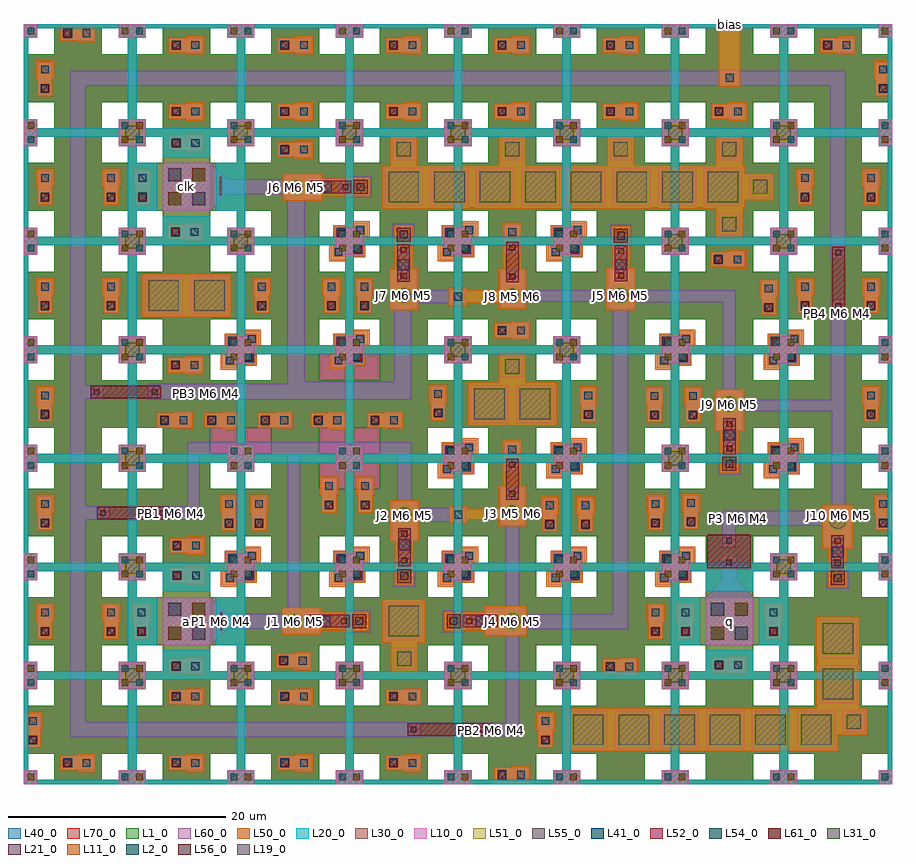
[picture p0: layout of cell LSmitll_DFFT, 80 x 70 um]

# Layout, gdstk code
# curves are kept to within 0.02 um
from math import pi, radians
import gdstk
lib = gdstk.Library(unit=1e-6, precision=1e-09)
def R(c, l, rs):  # rectangles x0, y0, x1, y1
    for r in rs: c.add(gdstk.rectangle(r[:2], r[2:], *l))
def A(c, l, x, y, w, h, nx, ny, dx, dy):  # array of equal rectangles
    R(c, l, [(x+i*dx, y+j*dy, x+i*dx+w, y+j*dy+h) for i in range(nx) for j in range(ny)])
def P(c, l, *ps):  # polygons
    for p in ps: c.add(gdstk.Polygon(p, *l))
L1_0 = (1, 0)
L2_0 = (2, 0)
L10_0 = (10, 0)
L11_0 = (11, 0)
L19_0 = (19, 0)
L20_0 = (20, 0)
L21_0 = (21, 0)
L30_0 = (30, 0)
L31_0 = (31, 0)
L40_0 = (40, 0)
L41_0 = (41, 0)
L50_0 = (50, 0)
L51_0 = (51, 0)
L52_0 = (52, 0)
L54_0 = (54, 0)
L55_0 = (55, 0)
L56_0 = (56, 0)
L60_0 = (60, 0)
L61_0 = (61, 0)
L70_0 = (70, 0)

ls_fakejj_1p5x1p5um = lib.new_cell('ls_FakeJJ_1p5x1p5um')
R(ls_fakejj_1p5x1p5um, L40_0, [(-1.25,-1.25,1.25,1.25)])
R(ls_fakejj_1p5x1p5um, L50_0, [(-1.25,-1.25,1.25,1.25)])
R(ls_fakejj_1p5x1p5um, L51_0, [(-0.75,-0.75,0.75,0.75)])
R(ls_fakejj_1p5x1p5um, L55_0, [(-0.65,-0.65,0.65,0.65)])
R(ls_fakejj_1p5x1p5um, L60_0, [(-1,-1,1,1)])

ls_fakejj_3umx3um = lib.new_cell('ls_FakeJJ_3umx3um')
R(ls_fakejj_3umx3um, L40_0, [(-2,-2,2,2)])
R(ls_fakejj_3umx3um, L50_0, [(-2,-2,2,2)])
R(ls_fakejj_3umx3um, L51_0, [(-1.5,-1.5,1.5,1.5)])
R(ls_fakejj_3umx3um, L55_0, [(-1.4,-1.4,1.4,1.4)])
R(ls_fakejj_3umx3um, L60_0, [(-1.75,-1.75,1.75,1.75)])

ls_conn_m4m5m6m7 = lib.new_cell('ls_conn_M4M5M6M7')
R(ls_conn_m4m5m6m7, L40_0, [(0,0,1.4,1.4)])
R(ls_conn_m4m5m6m7, L41_0, [(0.3,0.3,1.1,1.1)])
P(ls_conn_m4m5m6m7, L50_0, [(3.3,1.55),(1.6,1.55),(1.6,1.4),(0,1.4),(0,0),(1.6,0),(1.6,-0.15),(3.3,-0.15)])
R(ls_conn_m4m5m6m7, L54_0, [(2.1,0.35,2.8,1.05)])
R(ls_conn_m4m5m6m7, L60_0, [(0,0,3.15,1.4)])
R(ls_conn_m4m5m6m7, L61_0, [(0.35,0.35,1.05,1.05)])
R(ls_conn_m4m5m6m7, L70_0, [(0,0,1.4,1.4)])

ls_conn_m5m6m7 = lib.new_cell('ls_conn_M5M6M7')
R(ls_conn_m5m6m7, L50_0, [(-0.5,-0.5,1.2,1.2)])
R(ls_conn_m5m6m7, L54_0, [(0,0,0.7,0.7)])
R(ls_conn_m5m6m7, L60_0, [(-0.65,-0.65,1.35,1.35)])
R(ls_conn_m5m6m7, L61_0, [(-0.3,-0.3,1,1)])
R(ls_conn_m5m6m7, L70_0, [(-0.65,-0.65,1.35,1.35)])

ls_res_1p36 = lib.new_cell('ls_res_1p36')
R(ls_res_1p36, L52_0, [(-2,0,2,3.1)])
R(ls_res_1p36, L56_0, [(-0.26,0.29,0.26,0.81), (-0.26,2.3,0.26,2.82)])
R(ls_res_1p36, L60_0, [(-0.625,-0.1,0.625,1.175), (-0.625,1.925,0.625,3.2)])

ls_conn_m4m5m6m7_block = lib.new_cell('ls_conn_M4M5M6M7_block')
R(ls_conn_m4m5m6m7_block, L40_0, [(-1.475,-1.475,1.475,1.475)])
R(ls_conn_m4m5m6m7_block, L41_0, [(0.375,-1.175,1.175,-0.375), (-1.175,0.375,-0.375,1.175)])
P(ls_conn_m4m5m6m7_block, L50_0, [(1.85,1.85),(0.15,1.85),(0.15,1.475),(-1.475,1.475),(-1.475,-0.15),(-1.85,-0.15),(-1.85,-1.85),(-0.15,-1.85),(-0.15,-1.475),(1.475,-1.475),(1.475,0.15),(1.85,0.15)])
R(ls_conn_m4m5m6m7_block, L54_0, [(-1.35,-1.35,-0.65,-0.65), (0.65,0.65,1.35,1.35)])
P(ls_conn_m4m5m6m7_block, L60_0, [(1.7,1.7),(0.3,1.7),(0.3,1.45),(-1.45,1.45),(-1.45,-0.3),(-1.7,-0.3),(-1.7,-1.7),(-0.3,-1.7),(-0.3,-1.45),(1.45,-1.45),(1.45,0.3),(1.7,0.3)])
R(ls_conn_m4m5m6m7_block, L61_0, [(0.35,-1.05,1.05,-0.35), (-1.05,0.35,-0.35,1.05)])
R(ls_conn_m4m5m6m7_block, L70_0, [(-1.45,-1.45,1.45,1.45)])

ls_tr_u_m4 = lib.new_cell('ls_tr_u_M4')
P(ls_tr_u_m4, L1_0, [(10,10),(7.2,10),(7.2,9.6),(8.75,9.6),(8.75,8.75),(9.6,8.75),(9.6,7.2),(7.2,7.2),(7.2,2.8),(9.6,2.8),(9.6,1.25),(8.75,1.25),(8.75,0.4),(7.2,0.4),(7.2,10),(1.25,10),(1.25,9.6),(2.8,9.6),(2.8,7.2),(0.4,7.2),(0.4,2.8),(2.8,2.8),(2.8,0.4),(1.25,0.4),(1.25,1.25),(0.4,1.25),(0.4,8.75),(1.25,8.75),(1.25,10),(0,10),(0,0),(10,0)])
R(ls_tr_u_m4, L2_0, [(9.05,0.35,9.65,0.95), (0.35,9.05,0.95,9.65)])
R(ls_tr_u_m4, L10_0, [(0,0,1.25,1.25), (8.75,0,10,1.25), (0,8.75,1.25,10), (8.75,8.75,10,10)])
R(ls_tr_u_m4, L11_0, [(0.35,0.35,0.95,0.95), (9.05,9.05,9.65,9.65)])
P(ls_tr_u_m4, L20_0, [(10,10),(1.25,10),(1.25,9.6),(8.75,9.6),(8.75,8.75),(9.6,8.75),(9.6,1.25),(8.75,1.25),(8.75,0.4),(1.25,0.4),(1.25,1.25),(0.4,1.25),(0.4,8.75),(1.25,8.75),(1.25,10),(0,10),(0,0),(10,0)])
R(ls_tr_u_m4, L21_0, [(9.05,0.35,9.65,0.95), (0.35,9.05,0.95,9.65)])
R(ls_tr_u_m4, L30_0, [(0,0,1.25,1.25), (8.75,0,10,1.25), (0,8.75,1.25,10), (8.75,8.75,10,10)])
R(ls_tr_u_m4, L31_0, [(0.35,0.35,0.95,0.95), (9.05,9.05,9.65,9.65)])
P(ls_tr_u_m4, L40_0, [(10,10),(7.2,10),(7.2,9.6),(8.75,9.6),(8.75,8.75),(9.6,8.75),(9.6,7.2),(7.2,7.2),(7.2,2.8),(9.6,2.8),(9.6,1.25),(8.75,1.25),(8.75,0.4),(7.2,0.4),(7.2,10),(1.25,10),(1.25,9.6),(2.8,9.6),(2.8,7.2),(0.4,7.2),(0.4,2.8),(2.8,2.8),(2.8,0.4),(1.25,0.4),(1.25,1.25),(0.4,1.25),(0.4,8.75),(1.25,8.75),(1.25,10),(0,10),(0,0),(10,0)])

ls_conn_m5m6 = lib.new_cell('ls_conn_M5M6')
R(ls_conn_m5m6, L50_0, [(0,0,1.7,1.7)])
R(ls_conn_m5m6, L54_0, [(0.5,0.5,1.2,1.2)])
R(ls_conn_m5m6, L60_0, [(0.15,0.15,1.55,1.55)])

ls_ib_235 = lib.new_cell('ls_ib_235')
R(ls_ib_235, L52_0, [(-0.575,0,0.575,7.475)])
R(ls_ib_235, L56_0, [(-0.26,0.29,0.26,0.81), (-0.26,6.68,0.26,7.2)])
R(ls_ib_235, L60_0, [(-0.625,-0.1,0.625,1.175), (-0.625,6.3,0.625,7.575)])

ls_ib_276 = lib.new_cell('ls_ib_276')
R(ls_ib_276, L52_0, [(-0.575,0,0.575,6.6)])
R(ls_ib_276, L56_0, [(-0.26,0.29,0.26,0.81), (-0.26,5.8,0.26,6.32)])
R(ls_ib_276, L60_0, [(-0.625,-0.1,0.625,1.175), (-0.625,5.425,0.625,6.7)])

ls_ib_284 = lib.new_cell('ls_ib_284')
R(ls_ib_284, L52_0, [(-0.575,0,0.575,6.45)])
R(ls_ib_284, L56_0, [(-0.26,0.29,0.26,0.81), (-0.26,5.66,0.26,6.18)])
R(ls_ib_284, L60_0, [(-0.625,-0.1,0.625,1.175), (-0.625,5.3,0.625,6.55)])

ls_ib_312 = lib.new_cell('ls_ib_312')
R(ls_ib_312, L52_0, [(-0.575,0,0.575,6.025)])
R(ls_ib_312, L56_0, [(-0.26,0.29,0.26,0.81), (-0.26,5.22,0.26,5.74)])
R(ls_ib_312, L60_0, [(-0.625,-0.1,0.625,1.175), (-0.625,4.85,0.625,6.125)])

ls_jj_162_sg = lib.new_cell('ls_jj_162_sg')
R(ls_jj_162_sg, L41_0, [(-0.5,2.25,0.5,3.25)])
R(ls_jj_162_sg, L50_0, [(-1.275,-1.275,1.275,2.425), (-0.875,2.425,0.875,6.775)])
P(ls_jj_162_sg, L51_0, [(0,-0.74),(0.285,-0.685),(0.52,-0.525),(0.685,-0.285),(0.74,0),(0.685,0.28),(0.52,0.52),(0.285,0.68),(0,0.735),(-0.285,0.68),(-0.52,0.52),(-0.685,0.28),(-0.74,0),(-0.685,-0.285),(-0.52,-0.525),(-0.285,-0.685)])
R(ls_jj_162_sg, L52_0, [(-0.575,1.175,0.575,5.025)])
R(ls_jj_162_sg, L54_0, [(-0.35,5.55,0.35,6.25)])
P(ls_jj_162_sg, L55_0, [(0,-0.59),(0.23,-0.55),(0.42,-0.42),(0.54,-0.23),(0.59,0),(0.54,0.22),(0.42,0.43),(0.13,0.58),(0,0.59),(-0.13,0.58),(-0.42,0.43),(-0.54,0.22),(-0.59,0),(-0.54,-0.23),(-0.42,-0.42),(-0.23,-0.55)])
R(ls_jj_162_sg, L56_0, [(-0.26,1.44,0.26,1.96), (-0.26,4.23,0.26,4.75)])
R(ls_jj_162_sg, L60_0, [(-1.125,-1.125,1.125,2.325), (-0.725,3.85,0.725,6.625)])
ls_jj_162_sg.add(gdstk.Reference(ls_conn_m5m6m7, (-0.35,5.55)))

ls_jj_171_s = lib.new_cell('ls_jj_171_s')
R(ls_jj_171_s, L50_0, [(-1.275,-1.275,1.275,2.475), (-0.875,2.475,0.875,6.7)])
P(ls_jj_171_s, L51_0, [(0,-0.76),(0.29,-0.7),(0.535,-0.54),(0.7,-0.29),(0.76,0),(0.7,0.29),(0.535,0.535),(0.29,0.7),(0,0.755),(-0.29,0.7),(-0.535,0.535),(-0.7,0.29),(-0.76,0),(-0.7,-0.29),(-0.535,-0.54),(-0.29,-0.7)])
R(ls_jj_171_s, L52_0, [(-0.575,1.2,0.575,4.95)])
R(ls_jj_171_s, L54_0, [(-0.35,5.475,0.35,6.175)])
P(ls_jj_171_s, L55_0, [(0,-0.61),(0.12,-0.6),(0.34,-0.51),(0.51,-0.34),(0.6,-0.12),(0.6,0.12),(0.51,0.34),(0.34,0.5),(0.12,0.61),(-0.12,0.61),(-0.34,0.5),(-0.51,0.34),(-0.6,0.12),(-0.6,-0.12),(-0.51,-0.34),(-0.34,-0.51),(-0.12,-0.6)])
R(ls_jj_171_s, L56_0, [(-0.26,1.48,0.26,2), (-0.26,4.16,0.26,4.68)])
R(ls_jj_171_s, L60_0, [(-1.125,-1.125,1.125,2.375), (-0.725,3.775,0.725,6.55)])

ls_jj_189_sg = lib.new_cell('ls_jj_189_sg')
R(ls_jj_189_sg, L41_0, [(-0.5,2.3,0.5,3.3)])
R(ls_jj_189_sg, L50_0, [(-1.325,-1.325,1.325,2.525), (-0.875,2.525,0.875,6.525)])
P(ls_jj_189_sg, L51_0, [(0,-0.795),(0.305,-0.735),(0.565,-0.56),(0.735,-0.305),(0.795,0),(0.735,0.305),(0.565,0.565),(0.305,0.735),(0,0.795),(-0.305,0.735),(-0.565,0.565),(-0.735,0.305),(-0.795,0),(-0.735,-0.305),(-0.565,-0.56),(-0.305,-0.735)])
R(ls_jj_189_sg, L52_0, [(-0.575,1.25,0.575,4.775)])
P(ls_jj_189_sg, L55_0, [(0,-0.65),(0.25,-0.6),(0.46,-0.46),(0.6,-0.25),(0.65,0),(0.6,0.24),(0.46,0.45),(0.25,0.59),(0,0.64),(-0.25,0.59),(-0.46,0.45),(-0.6,0.24),(-0.65,0),(-0.6,-0.25),(-0.46,-0.46),(-0.25,-0.6)])
R(ls_jj_189_sg, L56_0, [(-0.26,1.52,0.26,2.04), (-0.26,3.99,0.26,4.51)])
R(ls_jj_189_sg, L60_0, [(-1.175,-1.175,1.175,2.425), (-0.725,3.625,0.725,6.375)])
ls_jj_189_sg.add(gdstk.Reference(ls_conn_m5m6m7, (-0.35,5.325)))

ls_jj_198_sg = lib.new_cell('ls_jj_198_sg')
R(ls_jj_198_sg, L41_0, [(-0.5,2.325,0.5,3.325)])
R(ls_jj_198_sg, L50_0, [(-1.35,-1.35,1.35,2.525), (-0.875,2.525,0.875,6.475)])
P(ls_jj_198_sg, L51_0, [(0,-0.815),(0.31,-0.755),(0.575,-0.575),(0.75,-0.315),(0.815,0),(0.75,0.31),(0.575,0.575),(0.31,0.75),(0,0.81),(-0.31,0.75),(-0.575,0.575),(-0.75,0.31),(-0.815,0),(-0.75,-0.315),(-0.575,-0.575),(-0.31,-0.755)])
R(ls_jj_198_sg, L52_0, [(-0.575,1.275,0.575,4.725)])
R(ls_jj_198_sg, L54_0, [(-0.35,5.25,0.35,5.95)])
P(ls_jj_198_sg, L55_0, [(0,-0.66),(0.25,-0.61),(0.47,-0.47),(0.61,-0.25),(0.66,0),(0.61,0.26),(0.47,0.47),(0.37,0.57),(0,0.67),(-0.37,0.57),(-0.47,0.47),(-0.61,0.26),(-0.66,0),(-0.61,-0.25),(-0.47,-0.47),(-0.25,-0.61)])
R(ls_jj_198_sg, L56_0, [(-0.26,1.54,0.26,2.06), (-0.26,3.92,0.26,4.44)])
R(ls_jj_198_sg, L60_0, [(-1.2,-1.2,1.2,2.425), (-0.725,3.55,0.725,6.325)])
ls_jj_198_sg.add(gdstk.Reference(ls_conn_m5m6m7, (-0.35,5.25)))

ls_jj_212_sg = lib.new_cell('ls_jj_212_sg')
R(ls_jj_212_sg, L41_0, [(-0.5,2.35,0.5,3.35)])
R(ls_jj_212_sg, L50_0, [(-1.375,-1.375,1.375,2.55), (-0.875,2.55,0.875,6.375)])
P(ls_jj_212_sg, L51_0, [(0,-0.84),(0.32,-0.775),(0.595,-0.595),(0.775,-0.32),(0.84,0),(0.775,0.325),(0.595,0.595),(0.32,0.78),(0,0.84),(-0.32,0.78),(-0.595,0.595),(-0.775,0.325),(-0.84,0),(-0.775,-0.32),(-0.595,-0.595),(-0.32,-0.775)])
R(ls_jj_212_sg, L52_0, [(-0.575,1.3,0.575,4.625)])
R(ls_jj_212_sg, L54_0, [(-0.35,5.15,0.35,5.85)])
P(ls_jj_212_sg, L55_0, [(0,-0.69),(0.26,-0.64),(0.49,-0.49),(0.64,-0.26),(0.69,0),(0.64,0.27),(0.49,0.49),(0.38,0.59),(0.26,0.64),(0,0.69),(-0.26,0.64),(-0.38,0.59),(-0.49,0.49),(-0.64,0.27),(-0.69,0),(-0.64,-0.26),(-0.49,-0.49),(-0.26,-0.64)])
R(ls_jj_212_sg, L56_0, [(-0.26,1.57,0.26,2.09), (-0.26,3.83,0.26,4.35)])
R(ls_jj_212_sg, L60_0, [(-1.225,-1.225,1.225,2.45), (-0.725,3.45,0.725,6.225)])
ls_jj_212_sg.add(gdstk.Reference(ls_conn_m5m6m7, (-0.35,5.15)))

ls_jj_232_sg = lib.new_cell('ls_jj_232_sg')
R(ls_jj_232_sg, L41_0, [(-0.5,2.375,0.5,3.375)])
R(ls_jj_232_sg, L50_0, [(-1.4,-1.4,1.4,2.6), (-0.875,2.6,0.875,6.25)])
P(ls_jj_232_sg, L51_0, [(0,-0.88),(0.335,-0.815),(0.62,-0.625),(0.81,-0.34),(0.88,0),(0.81,0.335),(0.62,0.62),(0.335,0.81),(0,0.875),(-0.335,0.81),(-0.62,0.62),(-0.81,0.335),(-0.88,0),(-0.81,-0.34),(-0.62,-0.625),(-0.335,-0.815)])
R(ls_jj_232_sg, L52_0, [(-0.575,1.325,0.575,4.5)])
P(ls_jj_232_sg, L55_0, [(0,-0.73),(0.28,-0.69),(0.53,-0.52),(0.67,-0.28),(0.73,0),(0.67,0.28),(0.53,0.51),(0.28,0.67),(0,0.73),(-0.28,0.67),(-0.53,0.51),(-0.67,0.28),(-0.73,0),(-0.67,-0.28),(-0.53,-0.52),(-0.28,-0.69)])
R(ls_jj_232_sg, L56_0, [(-0.26,1.6,0.26,2.12), (-0.26,3.71,0.26,4.23)])
R(ls_jj_232_sg, L60_0, [(-1.25,-1.25,1.25,2.5), (-0.725,3.35,0.725,6.1)])
ls_jj_232_sg.add(gdstk.Reference(ls_conn_m5m6m7, (-0.35,5.05)))

ls_jj_250_sg = lib.new_cell('ls_jj_250_sg')
R(ls_jj_250_sg, L41_0, [(-0.5,2.4,0.5,3.4)])
R(ls_jj_250_sg, L50_0, [(-1.425,-1.425,1.425,2.625), (-0.875,2.625,0.875,6.175)])
P(ls_jj_250_sg, L51_0, [(0,-0.91),(0.18,-0.895),(0.35,-0.84),(0.645,-0.645),(0.84,-0.35),(0.91,0),(0.895,0.18),(0.84,0.35),(0.645,0.645),(0.35,0.84),(0.18,0.895),(0,0.91),(-0.18,0.895),(-0.35,0.84),(-0.645,0.645),(-0.84,0.35),(-0.895,0.18),(-0.91,0),(-0.84,-0.35),(-0.645,-0.645),(-0.35,-0.84),(-0.18,-0.895)])
R(ls_jj_250_sg, L52_0, [(-0.575,1.35,0.575,4.425)])
R(ls_jj_250_sg, L54_0, [(-0.35,4.95,0.35,5.65)])
P(ls_jj_250_sg, L55_0, [(0,-0.76),(0.15,-0.75),(0.29,-0.7),(0.54,-0.54),(0.7,-0.29),(0.75,-0.15),(0.76,0),(0.75,0.15),(0.7,0.29),(0.54,0.54),(0.29,0.7),(0.15,0.75),(0,0.76),(-0.15,0.75),(-0.29,0.7),(-0.54,0.54),(-0.7,0.29),(-0.75,0.15),(-0.76,0),(-0.75,-0.15),(-0.7,-0.29),(-0.54,-0.54),(-0.29,-0.7),(-0.15,-0.75)])
R(ls_jj_250_sg, L56_0, [(-0.26,1.64,0.26,2.16), (-0.26,3.63,0.26,4.15)])
R(ls_jj_250_sg, L60_0, [(-1.275,-1.275,1.275,2.525), (-0.725,3.25,0.725,6.025)])
ls_jj_250_sg.add(gdstk.Reference(ls_conn_m5m6m7, (-0.35,4.95)))

ls_tr_ptlconnection = lib.new_cell('ls_tr_PTLconnection')
P(ls_tr_ptlconnection, L1_0, [(10,10),(7.2,10),(7.2,9.6),(8.75,9.6),(8.75,8.75),(9.6,8.75),(9.6,7.2),(7.2,7.2),(7.2,2.8),(9.6,2.8),(9.6,1.25),(8.75,1.25),(8.75,0.4),(7.2,0.4),(7.2,10),(1.25,10),(1.25,9.6),(2.8,9.6),(2.8,7.2),(0.4,7.2),(0.4,2.8),(2.8,2.8),(2.8,0.4),(1.25,0.4),(1.25,1.25),(0.4,1.25),(0.4,8.75),(1.25,8.75),(1.25,10),(0,10),(0,0),(10,0)])
R(ls_tr_ptlconnection, L2_0, [(9.05,0.35,9.65,0.95), (0.35,9.05,0.95,9.65)])
R(ls_tr_ptlconnection, L10_0, [(0,0,1.25,1.25), (8.75,0,10,1.25), (2.8,2.8,7.2,7.2), (0,8.75,1.25,10), (8.75,8.75,10,10)])
R(ls_tr_ptlconnection, L11_0, [(0.35,0.35,0.95,0.95), (3.3,3.3,4.5,4.5), (5.5,5.5,6.7,6.7), (9.05,9.05,9.65,9.65)])
R(ls_tr_ptlconnection, L20_0, [(2.8,2.8,7.2,7.2)])
P(ls_tr_ptlconnection, L20_0, [(10,10),(7.2,10),(7.2,9.6),(8.75,9.6),(8.75,8.75),(9.6,8.75),(9.6,7.2),(7.7,7.2),(7.7,2.8),(9.6,2.8),(9.6,1.25),(8.75,1.25),(8.75,0.4),(7.2,0.4),(7.2,2.3),(2.8,2.3),(2.8,0.4),(1.25,0.4),(1.25,1.25),(0.4,1.25),(0.4,2.8),(2.3,2.8),(2.3,7.2),(0.4,7.2),(0.4,8.75),(1.25,8.75),(1.25,9.6),(2.8,9.6),(2.8,7.7),(7.2,7.7),(7.2,10),(0,10),(0,0),(10,0)])
R(ls_tr_ptlconnection, L21_0, [(9.05,0.35,9.65,0.95), (5.5,3.3,6.7,4.5), (3.3,5.5,4.5,6.7), (0.35,9.05,0.95,9.65)])
R(ls_tr_ptlconnection, L30_0, [(0,0,1.25,1.25), (8.75,0,10,1.25), (2.8,2.8,7.2,7.2), (0,8.75,1.25,10), (8.75,8.75,10,10)])
R(ls_tr_ptlconnection, L31_0, [(0.35,0.35,0.95,0.95), (3.3,3.3,4.5,4.5), (5.5,5.5,6.7,6.7), (9.05,9.05,9.65,9.65)])
R(ls_tr_ptlconnection, L40_0, [(2.8,2.8,7.2,7.2)])
P(ls_tr_ptlconnection, L40_0, [(10,10),(7.2,10),(7.2,9.6),(8.75,9.6),(8.75,8.75),(9.6,8.75),(9.6,7.2),(7.7,7.2),(7.7,2.8),(9.6,2.8),(9.6,1.25),(8.75,1.25),(8.75,0.4),(7.2,0.4),(7.2,2.3),(2.8,2.3),(2.8,0.4),(1.25,0.4),(1.25,1.25),(0.4,1.25),(0.4,2.8),(2.3,2.8),(2.3,7.2),(0.4,7.2),(0.4,8.75),(1.25,8.75),(1.25,9.6),(2.8,9.6),(2.8,7.7),(7.2,7.7),(7.2,10),(0,10),(0,0),(10,0)])
R(ls_tr_ptlconnection, L41_0, [(5.5,3.3,6.7,4.5), (3.3,5.5,4.5,6.7)])
R(ls_tr_ptlconnection, L50_0, [(2.8,2.8,7.2,7.2)])
R(ls_tr_ptlconnection, L54_0, [(3.3,3.3,4.5,4.5), (5.5,5.5,6.7,6.7)])
R(ls_tr_ptlconnection, L60_0, [(2.8,2.8,7.2,7.2)])
P(ls_tr_ptlconnection, L70_0, [(10,10),(7.2,10),(7.2,9.6),(8.75,9.6),(8.75,8.75),(9.6,8.75),(9.6,7.2),(7.2,7.2),(7.2,2.8),(9.6,2.8),(9.6,1.25),(8.75,1.25),(8.75,0.4),(7.2,0.4),(7.2,10),(1.25,10),(1.25,9.6),(2.8,9.6),(2.8,7.2),(0.4,7.2),(0.4,2.8),(2.8,2.8),(2.8,0.4),(1.25,0.4),(1.25,1.25),(0.4,1.25),(0.4,8.75),(1.25,8.75),(1.25,10),(0,10),(0,0),(10,0)])

ls_tr_m7 = lib.new_cell('ls_tr_M7')
P(ls_tr_m7, L70_0, [(10,10),(7.2,10),(7.2,9.6),(8.75,9.6),(8.75,8.75),(9.6,8.75),(9.6,7.2),(7.2,7.2),(7.2,2.8),(9.6,2.8),(9.6,1.25),(8.75,1.25),(8.75,0.4),(7.2,0.4),(7.2,10),(1.25,10),(1.25,9.6),(2.8,9.6),(2.8,7.2),(0.4,7.2),(0.4,2.8),(2.8,2.8),(2.8,0.4),(1.25,0.4),(1.25,1.25),(0.4,1.25),(0.4,8.75),(1.25,8.75),(1.25,10),(0,10),(0,0),(10,0)])

lsmitll_dfft = lib.new_cell('LSmitll_DFFT')
R(lsmitll_dfft, L40_0, [(26.85,26.75,33.55,29.9), (16.775,30.325,33.2,33.2), (26.8,37,33.425,39.725)])
A(lsmitll_dfft, L50_0, 54, 3, 0.2, 4, 5, 1, 4.2, 0)
A(lsmitll_dfft, L50_0, 37, 53, 0.2, 4, 7, 1, 4.2, 0)
A(lsmitll_dfft, L50_0, 33.75, 57, 2.5, 0.2, 4, 1, 10, 0)
R(lsmitll_dfft, L50_0, [(43.35,0,44.95,0.15), (0,3.35,0.15,4.95), (75,4.5,75.2,7), (73,7,77,7.2), (73,11.2,77,11.4), (33.8,12.8,36.3,13), (79.85,23.35,80,24.95), (40.825,24.325,43.875,25.375), (44.9,33,45.1,37), (43.75,37,46.25,37.2), (14.9,43,15.1,47), (40.85,44.325,43.875,45.475), (63.75,52.8,66.25,53), (66.4,53.75,66.6,56.25), (79.85,63.35,80,64.95), (64,64.2,66,70), (3.35,69.85,4.95,70)])
R(lsmitll_dfft, L60_0, [(43.35,0,46.5,0.15), (0,3.35,0.15,6.5), (46.175,14.275,54.55,15.625), (54.275,14.275,55.7,44.025), (24.3,15.7,25.475,31.5), (44.4,16.05,45.625,24), (64.3,18.7,65.7,21.025), (64.35,23,65.6,23.775), (79.85,23.35,80,26.5), (64.35,23.775,73.7,25.175), (36.075,24.175,39.4,25.425), (5.675,24.325,6.65,25.575), (13.45,24.325,16.2,25.575), (15.075,24.325,16.2,31.5), (74.425,25.35,75.65,35.375), (34.425,25.8,35.725,31.5), (15.075,30.275,24.25,31.5), (24.25,30.275,35.075,31.5), (66.075,34.35,74.475,35.375), (74.325,35.325,75.65,44.65), (11.45,35.375,24.475,36.875), (24.475,35.375,35.375,37.05), (34.15,35.375,35.675,43.85), (5.675,35.475,6.075,36.725), (64.4,36.125,65.6,44.5), (24.25,36.65,25.875,53.975), (36.2,44.3,40.7,45.475), (56.15,44.35,65.6,45.5), (46.025,44.4,53.875,45.5), (79.85,63.35,80,66.5), (3.35,69.85,6.5,70)])
P(lsmitll_dfft, L60_0, [(17.2,57.2),(17.2,52.8),(18.7,54.3),(24.875,54.3),(24.875,55.7),(18.7,55.7)],
  [(17.2,17.2),(17.2,12.8),(18.7,14.3),(23.925,14.3),(23.925,15.7),(18.7,15.7)],
  [(42.925,5.65),(42.925,4.4),(45.65,4.4),(45.65,14.175),(44.4,14.175),(44.4,5.65)],
  [(62.8,17.2),(67.2,17.2),(65.7,18.7),(64.3,18.7)])
R(lsmitll_dfft, L70_0, [(26.9,26.725,33.85,30.175), (16.75,30.25,33.2,33.25), (26.75,37,33.625,39.675)])
lsmitll_dfft.add(gdstk.FlexPath([(75,65.7),(75,48.325)], 1.4, ends="flush", simple_path=True, layer=60, datatype=0))  # L60_0
lsmitll_dfft.add(gdstk.FlexPath([(4.3,65),(75,65)], 1.4, ends="flush", simple_path=True, layer=60, datatype=0))  # L60_0
lsmitll_dfft.add(gdstk.FlexPath([(5,4.3),(5,65.7)], 1.4, ends="flush", simple_path=True, layer=60, datatype=0))  # L60_0
lsmitll_dfft.add(gdstk.FlexPath([(4.475,5),(36.55,5)], 1.4, ends="flush", simple_path=True, layer=60, datatype=0))  # L60_0
lsmitll_dfft.add(gdstk.FlexPath([(16.8,36.4),(16.8,35.525)], 0.2, ends="flush", simple_path=True, layer=19, datatype=0))  # L19_0
lsmitll_dfft.add(gdstk.FlexPath([(65.775,24.975),(65.775,24)], 0.2, ends="flush", simple_path=True, layer=19, datatype=0))  # L19_0
lsmitll_dfft.add(gdstk.FlexPath([(74.55,43.4),(75.45,43.4)], 0.2, ends="extended", simple_path=True, layer=19, datatype=0))  # L19_0
lsmitll_dfft.add(gdstk.FlexPath([(18.15,55.825),(18.15,54.325)], 0.2, ends="extended", simple_path=True, layer=19, datatype=0))  # L19_0
lsmitll_dfft.add(gdstk.FlexPath([(13.625,25.334),(13.625,24.573)], 0.165, ends="extended", simple_path=True, layer=19, datatype=0))  # L19_0
lsmitll_dfft.add(gdstk.FlexPath([(18.2,15.7),(18.2,14.275)], 0.2, ends="extended", simple_path=True, layer=19, datatype=0))  # L19_0
lsmitll_dfft.add(gdstk.FlexPath([(43.05,5.55),(43.05,4.5)], 0.2, ends="extended", simple_path=True, layer=19, datatype=0))  # L19_0
lsmitll_dfft.add(gdstk.Reference(ls_fakejj_1p5x1p5um, (45,38.45)))
lsmitll_dfft.add(gdstk.Reference(ls_fakejj_1p5x1p5um, (35,58.45)))
lsmitll_dfft.add(gdstk.Reference(ls_fakejj_1p5x1p5um, (45,58.45)))
lsmitll_dfft.add(gdstk.Reference(ls_fakejj_1p5x1p5um, (55,58.45)))
lsmitll_dfft.add(gdstk.Reference(ls_fakejj_3umx3um, (60.2,55)))
lsmitll_dfft.add(gdstk.Reference(ls_fakejj_3umx3um, (17.1,45)))
lsmitll_dfft.add(gdstk.Reference(ls_fakejj_3umx3um, (12.9,45)))
lsmitll_dfft.add(gdstk.Reference(ls_fakejj_3umx3um, (35,55)))
lsmitll_dfft.add(gdstk.Reference(ls_conn_m4m5m6m7, (3.35,68.45)))
lsmitll_dfft.add(gdstk.Reference(ls_fakejj_1p5x1p5um, (60,30)))
lsmitll_dfft.add(gdstk.Reference(ls_fakejj_1p5x1p5um, (70,20)))
lsmitll_dfft.add(gdstk.Reference(ls_fakejj_1p5x1p5um, (70,10)))
lsmitll_dfft.add(gdstk.Reference(ls_fakejj_1p5x1p5um, (60,10)))
lsmitll_dfft.add(gdstk.Reference(ls_fakejj_1p5x1p5um, (50,10)))
lsmitll_dfft.add(gdstk.Reference(ls_fakejj_1p5x1p5um, (40,10)))
lsmitll_dfft.add(gdstk.Reference(ls_fakejj_1p5x1p5um, (30,10)))
lsmitll_dfft.add(gdstk.Reference(ls_fakejj_1p5x1p5um, (20,10)))
lsmitll_dfft.add(gdstk.Reference(ls_fakejj_1p5x1p5um, (10,10)))
lsmitll_dfft.add(gdstk.Reference(ls_fakejj_1p5x1p5um, (10,20)))
lsmitll_dfft.add(gdstk.Reference(ls_fakejj_1p5x1p5um, (10,30)))
lsmitll_dfft.add(gdstk.Reference(ls_fakejj_1p5x1p5um, (10,40)))
lsmitll_dfft.add(gdstk.Reference(ls_fakejj_1p5x1p5um, (20,50)))
lsmitll_dfft.add(gdstk.Reference(ls_fakejj_1p5x1p5um, (10,50)))
lsmitll_dfft.add(gdstk.Reference(ls_fakejj_1p5x1p5um, (40,40)))
lsmitll_dfft.add(gdstk.Reference(ls_fakejj_1p5x1p5um, (50,40)))
lsmitll_dfft.add(gdstk.Reference(ls_fakejj_1p5x1p5um, (60,50)))
lsmitll_dfft.add(gdstk.Reference(ls_fakejj_1p5x1p5um, (70,50)))
lsmitll_dfft.add(gdstk.Reference(ls_fakejj_1p5x1p5um, (70,60)))
lsmitll_dfft.add(gdstk.Reference(ls_fakejj_1p5x1p5um, (60,60)))
lsmitll_dfft.add(gdstk.Reference(ls_fakejj_1p5x1p5um, (50,60)))
lsmitll_dfft.add(gdstk.Reference(ls_fakejj_1p5x1p5um, (40,60)))
lsmitll_dfft.add(gdstk.Reference(ls_fakejj_1p5x1p5um, (30,60)))
lsmitll_dfft.add(gdstk.Reference(ls_fakejj_1p5x1p5um, (20,60)))
lsmitll_dfft.add(gdstk.Reference(ls_fakejj_1p5x1p5um, (10,60)))
lsmitll_dfft.add(gdstk.Reference(ls_conn_m5m6m7, (34.65,50.25)))
lsmitll_dfft.add(gdstk.Reference(ls_res_1p36, (64.975,19.85)))
lsmitll_dfft.add(gdstk.Reference(ls_conn_m4m5m6m7_block, (30,50)))
lsmitll_dfft.add(gdstk.Reference(ls_conn_m4m5m6m7_block, (50,30)))
lsmitll_dfft.add(gdstk.Reference(ls_conn_m4m5m6m7_block, (70,40)))
lsmitll_dfft.add(gdstk.Reference(ls_conn_m4m5m6m7_block, (70,30)))
lsmitll_dfft.add(gdstk.Reference(ls_conn_m4m5m6m7_block, (60,20)))
lsmitll_dfft.add(gdstk.Reference(ls_conn_m4m5m6m7_block, (50,20)))
lsmitll_dfft.add(gdstk.Reference(ls_conn_m4m5m6m7_block, (40,20)))
lsmitll_dfft.add(gdstk.Reference(ls_conn_m4m5m6m7_block, (30,40)))
lsmitll_dfft.add(gdstk.Reference(ls_conn_m4m5m6m7_block, (60,40)))
lsmitll_dfft.add(gdstk.Reference(ls_conn_m4m5m6m7_block, (40,30)))
lsmitll_dfft.add(gdstk.Reference(ls_conn_m4m5m6m7_block, (30,20)))
lsmitll_dfft.add(gdstk.Reference(ls_conn_m4m5m6m7, (13.425,18.5)))
lsmitll_dfft.add(gdstk.Reference(ls_conn_m4m5m6m7, (23.25,10.65)))
lsmitll_dfft.add(gdstk.Reference(ls_conn_m4m5m6m7, (53.325,10.125)))
lsmitll_dfft.add(gdstk.Reference(ls_conn_m4m5m6m7, (32.15,25), rotation=pi/2))
lsmitll_dfft.add(gdstk.Reference(ls_conn_m4m5m6m7, (28.825,25), rotation=pi/2))
lsmitll_dfft.add(gdstk.Reference(ls_conn_m4m5m6m7, (22.375,23.325), rotation=pi/2))
lsmitll_dfft.add(gdstk.Reference(ls_conn_m4m5m6m7, (58.9,13.35), rotation=pi/2))
lsmitll_dfft.add(gdstk.Reference(ls_conn_m4m5m6m7, (58.9,23.35), rotation=pi/2))
lsmitll_dfft.add(gdstk.Reference(ls_conn_m4m5m6m7, (49.15,23.225), rotation=pi/2))
lsmitll_dfft.add(gdstk.Reference(ls_conn_m4m5m6m7, (52.45,23.225), rotation=pi/2))
lsmitll_dfft.add(gdstk.Reference(ls_conn_m4m5m6m7, (29.05,43.35), rotation=pi/2))
lsmitll_dfft.add(gdstk.Reference(ls_conn_m4m5m6m7, (22.625,43.35), rotation=pi/2))
lsmitll_dfft.add(gdstk.Reference(ls_conn_m4m5m6m7, (38.875,33.475), rotation=pi/2))
lsmitll_dfft.add(gdstk.Reference(ls_conn_m4m5m6m7, (52.7,33.325), rotation=pi/2))
lsmitll_dfft.add(gdstk.Reference(ls_conn_m4m5m6m7, (62.15,23.45), rotation=pi/2))
lsmitll_dfft.add(gdstk.Reference(ls_conn_m4m5m6m7, (58.8,33.3), rotation=pi/2))
lsmitll_dfft.add(gdstk.Reference(ls_conn_m4m5m6m7, (62.35,33.3), rotation=pi/2))
lsmitll_dfft.add(gdstk.Reference(ls_conn_m4m5m6m7, (69.325,43.2), rotation=pi/2))
lsmitll_dfft.add(gdstk.Reference(ls_conn_m4m5m6m7, (63.275,47.625)))
lsmitll_dfft.add(gdstk.Reference(ls_conn_m4m5m6m7, (43.35,41.075)))
lsmitll_dfft.add(gdstk.Reference(ls_conn_m4m5m6m7, (31.65,32.8)))
lsmitll_dfft.add(gdstk.Reference(ls_conn_m4m5m6m7, (26.425,32.8)))
lsmitll_dfft.add(gdstk.Reference(ls_conn_m4m5m6m7, (21.55,32.8)))
lsmitll_dfft.add(gdstk.Reference(ls_tr_u_m4, (0,60)))
lsmitll_dfft.add(gdstk.Reference(ls_tr_u_m4, (0,50)))
lsmitll_dfft.add(gdstk.Reference(ls_tr_u_m4, (0,40)))
lsmitll_dfft.add(gdstk.Reference(ls_tr_u_m4, (0,10)))
lsmitll_dfft.add(gdstk.Reference(ls_tr_u_m4, (0,30)))
lsmitll_dfft.add(gdstk.Reference(ls_tr_u_m4, (0,20)))
lsmitll_dfft.add(gdstk.Reference(ls_tr_u_m4, (0,0)))
lsmitll_dfft.add(gdstk.Reference(ls_tr_u_m4, (10,0)))
lsmitll_dfft.add(gdstk.Reference(ls_tr_u_m4, (20,0)))
lsmitll_dfft.add(gdstk.Reference(ls_tr_u_m4, (30,0)))
lsmitll_dfft.add(gdstk.Reference(ls_tr_u_m4, (40,0)))
lsmitll_dfft.add(gdstk.Reference(ls_tr_u_m4, (50,0)))
lsmitll_dfft.add(gdstk.Reference(ls_tr_u_m4, (60,0)))
lsmitll_dfft.add(gdstk.Reference(ls_tr_u_m4, (70,0)))
lsmitll_dfft.add(gdstk.Reference(ls_conn_m5m6, (64.175,64.2)))
lsmitll_dfft.add(gdstk.Reference(ls_conn_m5m6, (39.15,44.025)))
lsmitll_dfft.add(gdstk.Reference(ls_conn_m5m6, (39.2,23.95)))
lsmitll_dfft.add(gdstk.Reference(ls_ib_235, (42.85,5.025), rotation=pi/2))
lsmitll_dfft.add(gdstk.Reference(ls_ib_276, (13.35,24.95), rotation=pi/2))
lsmitll_dfft.add(gdstk.Reference(ls_ib_284, (12.625,36.1), rotation=pi/2))
lsmitll_dfft.add(gdstk.Reference(ls_ib_312, (75.025,43.475)))
lsmitll_dfft.add(gdstk.Reference(ls_jj_162_sg, (25.125,55), rotation=3*pi/2))
lsmitll_dfft.add(gdstk.Reference(ls_jj_162_sg, (25,15), rotation=3*pi/2))
lsmitll_dfft.add(gdstk.Reference(ls_jj_171_s, (45,45)))
lsmitll_dfft.add(gdstk.Reference(ls_jj_171_s, (45,25)))
lsmitll_dfft.add(gdstk.Reference(ls_jj_189_sg, (35.05,24.825), rotation=pi))
lsmitll_dfft.add(gdstk.Reference(ls_jj_198_sg, (35,45)))
lsmitll_dfft.add(gdstk.Reference(ls_jj_212_sg, (55,45)))
lsmitll_dfft.add(gdstk.Reference(ls_jj_212_sg, (65,35), rotation=pi))
lsmitll_dfft.add(gdstk.Reference(ls_jj_232_sg, (45,15), rotation=pi/2))
lsmitll_dfft.add(gdstk.Reference(ls_jj_250_sg, (74.975,24.275), rotation=pi))
lsmitll_dfft.add(gdstk.Reference(ls_tr_u_m4, (20,20)))
lsmitll_dfft.add(gdstk.Reference(ls_tr_u_m4, (30,20)))
lsmitll_dfft.add(gdstk.Reference(ls_tr_u_m4, (40,20)))
lsmitll_dfft.add(gdstk.Reference(ls_tr_u_m4, (50,20)))
lsmitll_dfft.add(gdstk.Reference(ls_tr_u_m4, (60,20)))
lsmitll_dfft.add(gdstk.Reference(ls_tr_u_m4, (70,20)))
lsmitll_dfft.add(gdstk.Reference(ls_tr_u_m4, (70,30)))
lsmitll_dfft.add(gdstk.Reference(ls_tr_u_m4, (60,30)))
lsmitll_dfft.add(gdstk.Reference(ls_tr_u_m4, (50,30)))
lsmitll_dfft.add(gdstk.Reference(ls_tr_u_m4, (40,30)))
lsmitll_dfft.add(gdstk.Reference(ls_tr_u_m4, (30,30)))
lsmitll_dfft.add(gdstk.Reference(ls_tr_u_m4, (20,30)))
lsmitll_dfft.add(gdstk.Reference(ls_tr_ptlconnection, (10,50)))
lsmitll_dfft.add(gdstk.Reference(ls_tr_ptlconnection, (10,10)))
lsmitll_dfft.add(gdstk.Reference(ls_tr_ptlconnection, (60,10)))
lsmitll_dfft.add(gdstk.Reference(ls_tr_u_m4, (20,10)))
lsmitll_dfft.add(gdstk.Reference(ls_tr_u_m4, (30,10)))
lsmitll_dfft.add(gdstk.Reference(ls_tr_u_m4, (40,10)))
lsmitll_dfft.add(gdstk.Reference(ls_tr_u_m4, (50,10)))
lsmitll_dfft.add(gdstk.Reference(ls_tr_u_m4, (70,10)))
lsmitll_dfft.add(gdstk.Reference(ls_tr_u_m4, (10,20)))
lsmitll_dfft.add(gdstk.Reference(ls_tr_u_m4, (10,30)))
lsmitll_dfft.add(gdstk.Reference(ls_tr_u_m4, (10,40)))
lsmitll_dfft.add(gdstk.Reference(ls_tr_u_m4, (20,40)))
lsmitll_dfft.add(gdstk.Reference(ls_tr_u_m4, (30,40)))
lsmitll_dfft.add(gdstk.Reference(ls_tr_u_m4, (40,40)))
lsmitll_dfft.add(gdstk.Reference(ls_tr_u_m4, (50,40)))
lsmitll_dfft.add(gdstk.Reference(ls_tr_u_m4, (60,40)))
lsmitll_dfft.add(gdstk.Reference(ls_tr_u_m4, (70,40)))
lsmitll_dfft.add(gdstk.Reference(ls_tr_u_m4, (70,50)))
lsmitll_dfft.add(gdstk.Reference(ls_tr_u_m4, (60,50)))
lsmitll_dfft.add(gdstk.Reference(ls_tr_u_m4, (50,50)))
lsmitll_dfft.add(gdstk.Reference(ls_tr_u_m4, (40,50)))
lsmitll_dfft.add(gdstk.Reference(ls_tr_u_m4, (30,50)))
lsmitll_dfft.add(gdstk.Reference(ls_tr_u_m4, (20,50)))
lsmitll_dfft.add(gdstk.Reference(ls_tr_u_m4, (10,60)))
lsmitll_dfft.add(gdstk.Reference(ls_tr_u_m4, (20,60)))
lsmitll_dfft.add(gdstk.Reference(ls_tr_u_m4, (30,60)))
lsmitll_dfft.add(gdstk.Reference(ls_tr_u_m4, (40,60)))
lsmitll_dfft.add(gdstk.Reference(ls_tr_u_m4, (50,60)))
lsmitll_dfft.add(gdstk.Reference(ls_tr_u_m4, (60,60)))
lsmitll_dfft.add(gdstk.Reference(ls_tr_u_m4, (70,60)))
lsmitll_dfft.add(gdstk.Reference(ls_conn_m4m5m6m7, (13.35,58.35)))
lsmitll_dfft.add(gdstk.Reference(ls_conn_m4m5m6m7, (13.275,50.15)))
lsmitll_dfft.add(gdstk.Reference(ls_conn_m4m5m6m7, (16.625,32.8)))
r = gdstk.Reference(ls_tr_m7, (0,0)); r.repetition = gdstk.Repetition(8, 7, v1=(10,0), v2=(0,10)); lsmitll_dfft.add(r)
lsmitll_dfft.add(gdstk.Reference(ls_conn_m4m5m6m7_block, (20,40)))
lsmitll_dfft.add(gdstk.Reference(ls_conn_m4m5m6m7_block, (20,20)))
lsmitll_dfft.add(gdstk.Reference(ls_conn_m4m5m6m7_block, (50,50)))
lsmitll_dfft.add(gdstk.Reference(ls_conn_m4m5m6m7_block, (40,50)))
lsmitll_dfft.add(gdstk.Reference(ls_conn_m4m5m6m7, (13.35,67.35)))
lsmitll_dfft.add(gdstk.Reference(ls_conn_m4m5m6m7, (23.35,67.35)))
lsmitll_dfft.add(gdstk.Reference(ls_conn_m4m5m6m7, (33.35,67.35)))
lsmitll_dfft.add(gdstk.Reference(ls_conn_m4m5m6m7, (43.35,67.35)))
lsmitll_dfft.add(gdstk.Reference(ls_conn_m4m5m6m7, (53.35,67.35)))
lsmitll_dfft.add(gdstk.Reference(ls_conn_m4m5m6m7, (73.35,67.35)))
lsmitll_dfft.add(gdstk.Reference(ls_conn_m4m5m6m7, (53.35,61.25)))
lsmitll_dfft.add(gdstk.Reference(ls_conn_m4m5m6m7, (43.35,61.25)))
lsmitll_dfft.add(gdstk.Reference(ls_conn_m4m5m6m7, (33.35,61.25)))
lsmitll_dfft.add(gdstk.Reference(ls_conn_m4m5m6m7, (23.35,61.25)))
lsmitll_dfft.add(gdstk.Reference(ls_conn_m4m5m6m7, (13.35,61.25)))
lsmitll_dfft.add(gdstk.Reference(ls_conn_m4m5m6m7, (63.35,61.25)))
lsmitll_dfft.add(gdstk.Reference(ls_conn_m4m5m6m7, (13.35,1.25)))
lsmitll_dfft.add(gdstk.Reference(ls_conn_m4m5m6m7, (23.35,1.25)))
lsmitll_dfft.add(gdstk.Reference(ls_conn_m4m5m6m7, (33.35,1.25)))
lsmitll_dfft.add(gdstk.Reference(ls_conn_m4m5m6m7, (33.35,7.35)))
lsmitll_dfft.add(gdstk.Reference(ls_conn_m4m5m6m7, (23.35,7.35)))
lsmitll_dfft.add(gdstk.Reference(ls_conn_m4m5m6m7, (13.35,7.35)))
lsmitll_dfft.add(gdstk.Reference(ls_conn_m4m5m6m7, (43.35,0.15)))
lsmitll_dfft.add(gdstk.Reference(ls_conn_m4m5m6m7, (3.35,1.25)))
lsmitll_dfft.add(gdstk.Reference(ls_conn_m4m5m6m7, (11.65,53.35), rotation=pi/2))
lsmitll_dfft.add(gdstk.Reference(ls_conn_m4m5m6m7, (8.75,53.35), rotation=pi/2))
lsmitll_dfft.add(gdstk.Reference(ls_conn_m4m5m6m7, (2.65,53.35), rotation=pi/2))
lsmitll_dfft.add(gdstk.Reference(ls_conn_m4m5m6m7, (2.65,43.35), rotation=pi/2))
lsmitll_dfft.add(gdstk.Reference(ls_conn_m4m5m6m7, (8.75,43.35), rotation=pi/2))
lsmitll_dfft.add(gdstk.Reference(ls_conn_m4m5m6m7, (2.65,33.35), rotation=pi/2))
lsmitll_dfft.add(gdstk.Reference(ls_conn_m4m5m6m7, (2.65,23.35), rotation=pi/2))
lsmitll_dfft.add(gdstk.Reference(ls_conn_m4m5m6m7, (8.75,13.35), rotation=pi/2))
lsmitll_dfft.add(gdstk.Reference(ls_conn_m4m5m6m7, (2.65,13.35), rotation=pi/2))
lsmitll_dfft.add(gdstk.Reference(ls_conn_m4m5m6m7, (1.55,3.35), rotation=pi/2))
lsmitll_dfft.add(gdstk.Reference(ls_conn_m4m5m6m7, (13.275,37.9)))
lsmitll_dfft.add(gdstk.Reference(ls_conn_m4m5m6m7, (48.75,3.35), rotation=pi/2))
lsmitll_dfft.add(gdstk.Reference(ls_conn_m4m5m6m7, (2.65,63.35), rotation=pi/2))
lsmitll_dfft.add(gdstk.Reference(ls_conn_m4m5m6m7, (72.65,53.35), rotation=pi/2))
lsmitll_dfft.add(gdstk.Reference(ls_conn_m4m5m6m7, (78.75,53.35), rotation=pi/2))
lsmitll_dfft.add(gdstk.Reference(ls_conn_m4m5m6m7, (78.75,43.35), rotation=pi/2))
lsmitll_dfft.add(gdstk.Reference(ls_conn_m4m5m6m7, (72.65,43.35), rotation=pi/2))
lsmitll_dfft.add(gdstk.Reference(ls_conn_m4m5m6m7, (78.75,33.35), rotation=pi/2))
lsmitll_dfft.add(gdstk.Reference(ls_conn_m4m5m6m7, (79.85,63.35), rotation=pi/2))
lsmitll_dfft.add(gdstk.Reference(ls_fakejj_3umx3um, (43.4,55)))
lsmitll_dfft.add(gdstk.Reference(ls_fakejj_3umx3um, (51.8,55)))
lsmitll_dfft.add(gdstk.Reference(ls_fakejj_3umx3um, (64.4,55)))
lsmitll_dfft.add(gdstk.Reference(ls_fakejj_3umx3um, (75,13.4)))
lsmitll_dfft.add(gdstk.Reference(ls_fakejj_3umx3um, (68.8,5)))
lsmitll_dfft.add(gdstk.Reference(ls_fakejj_3umx3um, (60.4,5)))
lsmitll_dfft.add(gdstk.Reference(ls_fakejj_3umx3um, (52,5)))
lsmitll_dfft.add(gdstk.Reference(ls_fakejj_3umx3um, (42.9,35)))
lsmitll_dfft.add(gdstk.Reference(ls_fakejj_3umx3um, (39.2,55)))
lsmitll_dfft.add(gdstk.Reference(ls_fakejj_3umx3um, (47.6,55)))
lsmitll_dfft.add(gdstk.Reference(ls_fakejj_3umx3um, (56,55)))
lsmitll_dfft.add(gdstk.Reference(ls_fakejj_3umx3um, (64.6,5)))
lsmitll_dfft.add(gdstk.Reference(ls_fakejj_3umx3um, (56.2,5)))
lsmitll_dfft.add(gdstk.Reference(ls_fakejj_3umx3um, (75,9.2)))
lsmitll_dfft.add(gdstk.Reference(ls_conn_m4m5m6m7, (61.65,13.35), rotation=pi/2))
lsmitll_dfft.add(gdstk.Reference(ls_conn_m4m5m6m7, (69.75,13.35), rotation=pi/2))
lsmitll_dfft.add(gdstk.Reference(ls_conn_m4m5m6m7, (63.35,10.25)))
lsmitll_dfft.add(gdstk.Reference(ls_fakejj_3umx3um, (47.1,35)))
lsmitll_dfft.add(gdstk.Reference(ls_fakejj_3umx3um, (35,15)))
lsmitll_dfft.add(gdstk.Reference(ls_fakejj_3umx3um, (73,5)))
lsmitll_dfft.add(gdstk.Reference(ls_conn_m4m5m6m7, (79.85,23.35), rotation=pi/2))
lsmitll_dfft.add(gdstk.Reference(ls_conn_m4m5m6m7, (12.275,32.8)))
lsmitll_dfft.add(gdstk.Reference(ls_conn_m4m5m6m7, (23.35,57.725)))
lsmitll_dfft.add(gdstk.Reference(ls_fakejj_1p5x1p5um, (76.45,5.75)))
lsmitll_dfft.add(gdstk.Reference(ls_fakejj_1p5x1p5um, (67.85,55)))
lsmitll_dfft.add(gdstk.Reference(ls_fakejj_1p5x1p5um, (65,51.55)))
lsmitll_dfft.add(gdstk.Reference(ls_fakejj_1p5x1p5um, (65,58.45)))
lsmitll_dfft.add(gdstk.Reference(ls_fakejj_1p5x1p5um, (35.05,11.55)))
lsmitll_dfft.add(gdstk.Reference(ls_conn_m4m5m6m7, (11.55,13.35), rotation=pi/2))
lsmitll_dfft.add(gdstk.Reference(ls_conn_m4m5m6m7, (13.35,10.15)))
lsmitll_dfft.add(gdstk.Reference(ls_conn_m4m5m6m7, (13.425,21.25)))
lsmitll_dfft.add(gdstk.Reference(ls_conn_m4m5m6m7, (19.6,23.325), rotation=pi/2))
lsmitll_dfft.add(gdstk.Reference(ls_conn_m4m5m6m7, (32.075,43.35), rotation=pi/2))
lsmitll_dfft.add(gdstk.Label('bias', (65,70), layer=182, texttype=0))
lsmitll_dfft.add(gdstk.Label('q', (65,15), layer=182, texttype=0))
lsmitll_dfft.add(gdstk.Label('a', (15,15), layer=182, texttype=0))
lsmitll_dfft.add(gdstk.Label('clk', (15,55), layer=182, texttype=0))
lsmitll_dfft.add(gdstk.Label('PB4 M6 M4', (74.95,43.375), layer=182, texttype=0))
lsmitll_dfft.add(gdstk.Label('P2 M6 M4', (18.15,55.025), layer=182, texttype=0))
lsmitll_dfft.add(gdstk.Label('J6 M6 M5', (25.15,54.9), layer=182, texttype=0))
lsmitll_dfft.add(gdstk.Label('PB3 M6 M4', (16.85,35.95), layer=182, texttype=0))
lsmitll_dfft.add(gdstk.Label('J7 M6 M5', (35,45), layer=182, texttype=0))
lsmitll_dfft.add(gdstk.Label('J5 M6 M5', (54.975,44.95), layer=182, texttype=0))
lsmitll_dfft.add(gdstk.Label('J8 M5 M6', (45.025,44.925), layer=182, texttype=0))
lsmitll_dfft.add(gdstk.Label('J9 M6 M5', (65,34.95), layer=182, texttype=0))
lsmitll_dfft.add(gdstk.Label('J3 M5 M6', (45.1,24.95), layer=182, texttype=0))
lsmitll_dfft.add(gdstk.Label('PB1 M6 M4', (13.625,24.9), layer=182, texttype=0))
lsmitll_dfft.add(gdstk.Label('J10 M6 M5', (75,24.75), layer=182, texttype=0))
lsmitll_dfft.add(gdstk.Label('J2 M6 M5', (35.05,24.775), layer=182, texttype=0))
lsmitll_dfft.add(gdstk.Label('P3 M6 M4', (65.8,24.5), layer=182, texttype=0))
lsmitll_dfft.add(gdstk.Label('P1 M6 M4', (18.225,15), layer=182, texttype=0))
lsmitll_dfft.add(gdstk.Label('J1 M6 M5', (25,15), layer=182, texttype=0))
lsmitll_dfft.add(gdstk.Label('J4 M6 M5', (45.05,14.975), layer=182, texttype=0))
lsmitll_dfft.add(gdstk.Label('PB2 M6 M4', (43.075,4.95), layer=182, texttype=0))

lib.write_gds('LSmitll_DFFT.gds')
